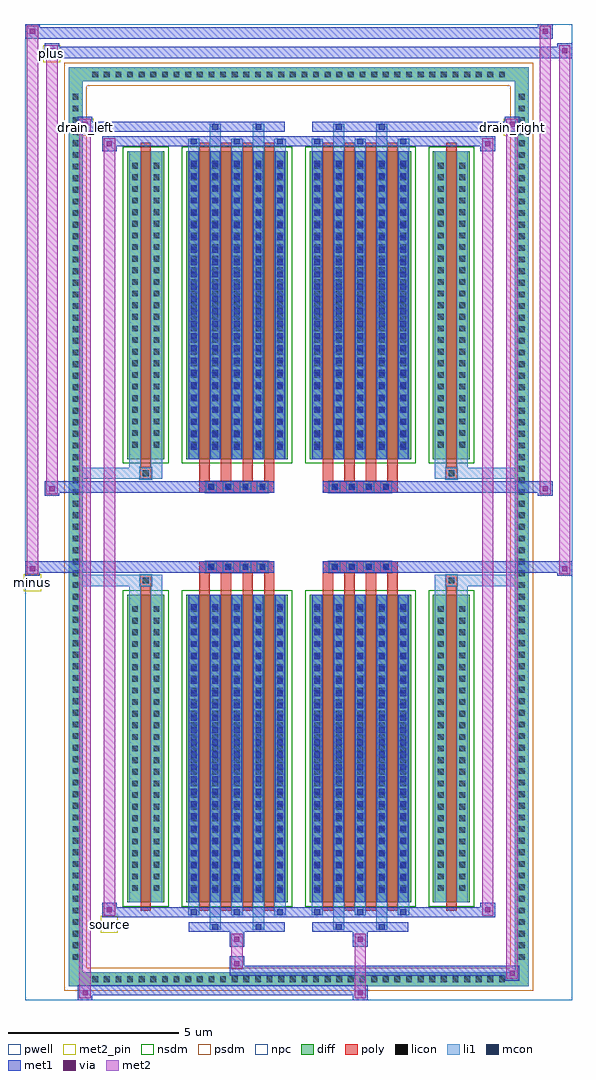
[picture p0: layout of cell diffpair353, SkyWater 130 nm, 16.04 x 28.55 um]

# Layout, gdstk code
import gdstk
lib = gdstk.Library(unit=1e-6, precision=5e-09)
def R(c, l, rs):  # rectangles x0, y0, x1, y1
    for r in rs: c.add(gdstk.rectangle(r[:2], r[2:], *l))
def A(c, l, x, y, w, h, nx, ny, dx, dy):  # array of equal rectangles
    R(c, l, [(x+i*dx, y+j*dy, x+i*dx+w, y+j*dy+h) for i in range(nx) for j in range(ny)])
def P(c, l, *ps):  # polygons
    for p in ps: c.add(gdstk.Polygon(p, *l))
pwell = (64, 44)
diff = (65, 20)
poly = (66, 20)
licon = (66, 44)
li1 = (67, 20)
mcon = (67, 44)
met1 = (68, 20)
via = (68, 44)
met2_pin = (69, 16)
met2 = (69, 20)
nsdm = (93, 44)
psdm = (94, 20)
npc = (95, 20)

diffpair353 = lib.new_cell('diffpair353')
R(diffpair353, pwell, [(-8,-13.84,8,14.71), (-5.32,-12.03,-0.01,-0.805), (0.01,-12.03,5.32,-0.805), (-5.32,0.805,-0.01,12.03), (0.01,0.805,5.32,12.03)])
A(diffpair353, diff, -6.155, -13.44, 0.41, 0.41, 36, 2, 0.34, 26.47)
A(diffpair353, diff, -6.73, -12.785, 0.41, 0.41, 1, 75, 0, 0.34)
A(diffpair353, diff, 6.32, -12.785, 0.41, 0.41, 1, 75, 0, 0.34)
R(diffpair353, diff, [(-6.155,-13.44,6.155,-13.03), (-6.73,-12.785,-6.32,12.785), (6.32,-12.785,6.73,12.785), (-5.01,-10.985,-3.93,-1.985), (-3.29,-10.985,-0.32,-1.985), (0.32,-10.985,3.29,-1.985), (3.93,-10.985,5.01,-1.985), (-5.01,1.985,-3.93,10.985), (-3.29,1.985,-0.32,10.985), (0.32,1.985,3.29,10.985), (3.93,1.985,5.01,10.985), (-6.155,13.03,6.155,13.44)])
P(diffpair353, diff, [(6.73,13.44),(-6.73,13.44),(-6.73,-13.03),(-6.32,-13.03),(-6.32,13.03),(6.32,13.03),(6.32,-13.03),(-6.32,-13.03),(-6.73,-13.03),(-6.73,-13.44),(6.73,-13.44)])
A(diffpair353, poly, -2.9, -11.235, 0.3, 9.5, 4, 2, 0.63, 12.97)
A(diffpair353, poly, 0.71, -11.235, 0.3, 9.5, 4, 2, 0.63, 12.97)
A(diffpair353, poly, -2.9, -1.735, 0.3, 0.4, 4, 2, 0.63, 3.07)
A(diffpair353, poly, 0.71, -1.735, 0.3, 0.4, 4, 2, 0.63, 3.07)
A(diffpair353, poly, -2.72, -1.335, 0.33, 0.33, 4, 2, 0.5, 2.34)
A(diffpair353, poly, 0.89, -1.335, 0.33, 0.33, 4, 2, 0.5, 2.34)
R(diffpair353, poly, [(-4.62,-11.235,-4.32,-1.735), (4.32,-11.235,4.62,-1.735), (-4.635,-1.735,-4.305,-1.405), (-4.635,-1.735,-4.305,-1.405), (4.305,-1.735,4.635,-1.405), (4.305,-1.735,4.635,-1.405), (-2.9,-1.335,-0.71,-1.005), (0.71,-1.335,2.9,-1.005), (-2.9,1.005,-0.71,1.335), (0.71,1.005,2.9,1.335), (-4.635,1.405,-4.305,1.735), (-4.635,1.405,-4.305,1.735), (4.305,1.405,4.635,1.735), (4.305,1.405,4.635,1.735), (-4.62,1.735,-4.32,11.235), (4.32,1.735,4.62,11.235)])
A(diffpair353, licon, -6.035, -13.32, 0.17, 0.17, 36, 2, 0.34, 26.47)
A(diffpair353, licon, -6.61, -12.665, 0.17, 0.17, 1, 75, 0, 0.34)
A(diffpair353, licon, 6.44, -12.665, 0.17, 0.17, 1, 75, 0, 0.34)
A(diffpair353, licon, -4.87, -10.65, 0.17, 0.17, 1, 25, 0, 0.34)
A(diffpair353, licon, -4.24, -10.65, 0.17, 0.17, 1, 25, 0, 0.34)
A(diffpair353, licon, -3.15, -10.65, 0.17, 0.17, 5, 25, 0.63, 0.34)
A(diffpair353, licon, 0.46, -10.65, 0.17, 0.17, 5, 25, 0.63, 0.34)
A(diffpair353, licon, 4.07, -10.65, 0.17, 0.17, 1, 25, 0, 0.34)
A(diffpair353, licon, 4.7, -10.65, 0.17, 0.17, 1, 25, 0, 0.34)
A(diffpair353, licon, -2.64, -1.255, 0.17, 0.17, 4, 2, 0.5, 2.34)
A(diffpair353, licon, 0.97, -1.255, 0.17, 0.17, 4, 2, 0.5, 2.34)
A(diffpair353, licon, -4.87, 2.32, 0.17, 0.17, 1, 25, 0, 0.34)
A(diffpair353, licon, -4.24, 2.32, 0.17, 0.17, 1, 25, 0, 0.34)
A(diffpair353, licon, -3.15, 2.32, 0.17, 0.17, 5, 25, 0.63, 0.34)
A(diffpair353, licon, 0.46, 2.32, 0.17, 0.17, 5, 25, 0.63, 0.34)
A(diffpair353, licon, 4.07, 2.32, 0.17, 0.17, 1, 25, 0, 0.34)
A(diffpair353, licon, 4.7, 2.32, 0.17, 0.17, 1, 25, 0, 0.34)
R(diffpair353, licon, [(-4.555,-1.655,-4.385,-1.485), (4.385,-1.655,4.555,-1.485), (-4.555,1.485,-4.385,1.655), (4.385,1.485,4.555,1.655)])
A(diffpair353, li1, -6.115, -13.4, 0.33, 0.33, 36, 2, 0.34, 26.47)
A(diffpair353, li1, -6.69, -12.745, 0.33, 0.33, 1, 75, 0, 0.34)
A(diffpair353, li1, 6.36, -12.745, 0.33, 0.33, 1, 75, 0, 0.34)
A(diffpair353, li1, -3.23, -11.36, 0.33, 0.375, 3, 2, 1.26, 22.345)
A(diffpair353, li1, -3.15, -11.36, 0.17, 0.17, 3, 2, 1.26, 22.55)
A(diffpair353, li1, 0.38, -11.36, 0.33, 0.375, 3, 2, 1.26, 22.345)
A(diffpair353, li1, 0.46, -11.36, 0.17, 0.17, 3, 2, 1.26, 22.55)
A(diffpair353, li1, -3.23, -10.985, 0.33, 9, 5, 2, 0.63, 12.97)
A(diffpair353, li1, 0.38, -10.985, 0.33, 9, 5, 2, 0.63, 12.97)
A(diffpair353, li1, -4.95, -10.73, 0.33, 0.33, 1, 25, 0, 0.34)
A(diffpair353, li1, -4.32, -10.73, 0.33, 0.33, 1, 25, 0, 0.34)
A(diffpair353, li1, -3.23, -10.73, 0.33, 0.33, 5, 25, 0.63, 0.34)
A(diffpair353, li1, 0.38, -10.73, 0.33, 0.33, 5, 25, 0.63, 0.34)
A(diffpair353, li1, 3.99, -10.73, 0.33, 0.33, 1, 25, 0, 0.34)
A(diffpair353, li1, 4.62, -10.73, 0.33, 0.33, 1, 25, 0, 0.34)
A(diffpair353, li1, -3.15, -10.71, 0.17, 0.17, 5, 24, 0.63, 0.36)
A(diffpair353, li1, -3.15, -10.71, 0.17, 8.45, 5, 2, 0.63, 12.97)
A(diffpair353, li1, 0.46, -10.71, 0.17, 0.17, 5, 24, 0.63, 0.36)
A(diffpair353, li1, 0.46, -10.71, 0.17, 8.45, 5, 2, 0.63, 12.97)
A(diffpair353, li1, -2.72, -1.335, 0.33, 0.33, 4, 2, 0.5, 2.34)
A(diffpair353, li1, 0.89, -1.335, 0.33, 0.33, 4, 2, 0.5, 2.34)
A(diffpair353, li1, -4.95, 2.24, 0.33, 0.33, 1, 25, 0, 0.34)
A(diffpair353, li1, -4.32, 2.24, 0.33, 0.33, 1, 25, 0, 0.34)
A(diffpair353, li1, -3.23, 2.24, 0.33, 0.33, 5, 25, 0.63, 0.34)
A(diffpair353, li1, 0.38, 2.24, 0.33, 0.33, 5, 25, 0.63, 0.34)
A(diffpair353, li1, 3.99, 2.24, 0.33, 0.33, 1, 25, 0, 0.34)
A(diffpair353, li1, 4.62, 2.24, 0.33, 0.33, 1, 25, 0, 0.34)
A(diffpair353, li1, -3.15, 2.26, 0.17, 0.17, 5, 24, 0.63, 0.36)
A(diffpair353, li1, 0.46, 2.26, 0.17, 0.17, 5, 24, 0.63, 0.36)
R(diffpair353, li1, [(-6.73,-13.44,-6.32,-13.03), (-6.73,-13.44,-6.32,-13.03), (-6.32,-13.44,6.32,-13.03), (6.32,-13.44,6.73,-13.03), (6.32,-13.44,6.73,-13.03), (-6.73,-13.03,-6.32,13.03), (6.32,-13.03,6.73,13.03), (-2.6,-11.79,-2.27,-10.985), (-2.52,-11.79,-2.35,-11.62), (-1.34,-11.79,-1.01,-10.985), (-1.26,-11.79,-1.09,-11.62), (1.01,-11.79,1.34,-10.985), (1.09,-11.79,1.26,-11.62), (2.27,-11.79,2.6,-10.985), (2.35,-11.79,2.52,-11.62), (-4.95,-10.985,-4.62,-1.985), (-4.32,-10.985,-3.99,-1.985), (3.99,-10.985,4.32,-1.985), (4.62,-10.985,4.95,-1.985), (-4.95,-1.985,-4.62,-1.405), (-4.32,-1.985,-3.99,-1.405), (3.99,-1.985,4.32,-1.405), (4.62,-1.985,4.95,-1.405), (-6.73,-1.735,-4.635,-1.405), (-4.95,-1.735,-4.635,-1.405), (-4.635,-1.735,-4.305,-1.405), (-4.305,-1.735,-3.99,-1.405), (3.99,-1.735,4.305,-1.405), (4.305,-1.735,4.635,-1.405), (4.305,-1.735,6.73,-1.405), (4.635,-1.735,4.95,-1.405), (-6.73,1.405,-4.635,1.735), (-4.95,1.405,-4.635,1.735), (-4.95,1.405,-4.62,1.985), (-4.635,1.405,-4.305,1.735), (-4.32,1.405,-3.99,1.985), (-4.305,1.405,-3.99,1.735), (3.99,1.405,4.305,1.735), (3.99,1.405,4.32,1.985), (4.305,1.405,4.635,1.735), (4.305,1.405,6.73,1.735), (4.62,1.405,4.95,1.985), (4.635,1.405,4.95,1.735), (-4.95,1.985,-4.62,10.985), (-4.32,1.985,-3.99,10.985), (3.99,1.985,4.32,10.985), (4.62,1.985,4.95,10.985), (-2.6,10.985,-2.27,11.79), (-1.34,10.985,-1.01,11.79), (1.01,10.985,1.34,11.79), (2.27,10.985,2.6,11.79), (-2.52,11.62,-2.35,11.79), (-1.26,11.62,-1.09,11.79), (1.09,11.62,1.26,11.79), (2.35,11.62,2.52,11.79), (-6.73,13.03,-6.32,13.44), (-6.73,13.03,-6.32,13.44), (-6.32,13.03,6.32,13.44), (6.32,13.03,6.73,13.44), (6.32,13.03,6.73,13.44)])
A(diffpair353, mcon, -3.15, -11.36, 0.17, 0.17, 3, 2, 1.26, 22.55)
A(diffpair353, mcon, 0.46, -11.36, 0.17, 0.17, 3, 2, 1.26, 22.55)
A(diffpair353, mcon, -3.15, -10.71, 0.17, 0.17, 5, 24, 0.63, 0.36)
A(diffpair353, mcon, 0.46, -10.71, 0.17, 0.17, 5, 24, 0.63, 0.36)
A(diffpair353, mcon, -2.64, -1.255, 0.17, 0.17, 4, 2, 0.5, 2.34)
A(diffpair353, mcon, 0.97, -1.255, 0.17, 0.17, 4, 2, 0.5, 2.34)
A(diffpair353, mcon, -3.15, 2.26, 0.17, 0.17, 5, 24, 0.63, 0.36)
A(diffpair353, mcon, 0.46, 2.26, 0.17, 0.17, 5, 24, 0.63, 0.36)
R(diffpair353, mcon, [(-2.52,-11.79,-2.35,-11.62), (-1.26,-11.79,-1.09,-11.62), (1.09,-11.79,1.26,-11.62), (2.35,-11.79,2.52,-11.62), (-2.52,11.62,-2.35,11.79), (-1.26,11.62,-1.09,11.79), (1.09,11.62,1.26,11.79), (2.35,11.62,2.52,11.79)])
A(diffpair353, met1, -3.21, -11.42, 0.29, 0.29, 3, 2, 1.26, 22.55)
A(diffpair353, met1, 0.4, -11.42, 0.29, 0.29, 3, 2, 1.26, 22.55)
A(diffpair353, met1, -3.21, -10.985, 0.29, 9, 5, 2, 0.63, 12.97)
A(diffpair353, met1, 0.4, -10.985, 0.29, 9, 5, 2, 0.63, 12.97)
A(diffpair353, met1, -3.21, -10.77, 0.29, 0.29, 5, 24, 0.63, 0.36)
A(diffpair353, met1, 0.4, -10.77, 0.29, 0.29, 5, 24, 0.63, 0.36)
A(diffpair353, met1, -2.7, -1.315, 0.29, 0.29, 4, 2, 0.5, 2.34)
A(diffpair353, met1, 0.91, -1.315, 0.29, 0.29, 4, 2, 0.5, 2.34)
A(diffpair353, met1, -3.21, 2.2, 0.29, 0.29, 5, 24, 0.63, 0.36)
A(diffpair353, met1, 0.4, 2.2, 0.29, 0.29, 5, 24, 0.63, 0.36)
R(diffpair353, met1, [(-6.46,-13.84,-6.03,-13.41), (1.59,-13.84,2.02,-13.41), (-6.46,-13.7,2.02,-13.41), (6.03,-13.27,6.46,-12.84), (-2.02,-13.13,6.46,-12.84), (-2.02,-12.99,-1.59,-12.56), (-2.02,-12.28,-1.59,-11.85), (1.59,-12.28,2.02,-11.85), (-3.21,-11.85,-0.4,-11.56), (-2.58,-11.85,-2.29,-11.56), (-1.32,-11.85,-1.03,-11.56), (0.4,-11.85,3.21,-11.56), (1.03,-11.85,1.32,-11.56), (2.29,-11.85,2.58,-11.56), (-5.75,-11.42,-5.32,-10.99), (-5.75,-11.42,-3.21,-11.13), (-3.21,-11.42,-0.4,-11.13), (-0.4,-11.42,0.4,-11.13), (0.4,-11.42,3.21,-11.13), (3.21,-11.42,5.75,-11.13), (5.32,-11.42,5.75,-10.99), (-8,-1.435,-7.57,-1.005), (7.57,-1.435,8,-1.005), (-8,-1.335,-0.71,-1.005), (-2.9,-1.335,-0.71,-1.005), (0.71,-1.335,2.9,-1.005), (0.71,-1.335,8,-1.005), (-7.43,0.905,-7,1.335), (7,0.905,7.43,1.335), (-7.43,1.005,-2.9,1.335), (-2.9,1.005,-0.71,1.335), (0.71,1.005,2.9,1.335), (2.9,1.005,7.43,1.335), (-5.75,10.99,-5.32,11.42), (5.32,10.99,5.75,11.42), (-5.75,11.13,-3.21,11.42), (-3.21,11.13,-0.4,11.42), (-0.4,11.13,0.4,11.42), (0.4,11.13,3.21,11.42), (3.21,11.13,5.75,11.42), (-6.46,11.56,-6.03,11.99), (-6.46,11.56,-3.21,11.85), (-3.21,11.56,-0.4,11.85), (-2.58,11.56,-2.29,11.85), (-1.32,11.56,-1.03,11.85), (0.4,11.56,3.21,11.85), (1.03,11.56,1.32,11.85), (2.29,11.56,2.58,11.85), (3.21,11.56,6.46,11.85), (6.03,11.56,6.46,11.99), (-7.43,13.71,-7,14.14), (-7.43,13.71,-5.32,14.04), (-5.32,13.71,5.32,14.04), (5.32,13.71,8,14.04), (7.57,13.71,8,14.14), (-8,14.28,-7.57,14.71), (-8,14.28,-5.32,14.61), (-5.32,14.28,5.32,14.61), (5.32,14.28,7.43,14.61), (7,14.28,7.43,14.71)])
R(diffpair353, via, [(-6.32,-13.7,-6.17,-13.55), (1.73,-13.7,1.88,-13.55), (6.17,-13.13,6.32,-12.98), (-1.88,-12.85,-1.73,-12.7), (-1.88,-12.14,-1.73,-11.99), (1.73,-12.14,1.88,-11.99), (-5.61,-11.28,-5.46,-11.13), (5.46,-11.28,5.61,-11.13), (-7.86,-1.295,-7.71,-1.145), (7.71,-1.295,7.86,-1.145), (-7.29,1.045,-7.14,1.195), (7.14,1.045,7.29,1.195), (-5.61,11.13,-5.46,11.28), (5.46,11.13,5.61,11.28), (-6.32,11.7,-6.17,11.85), (6.17,11.7,6.32,11.85), (-7.29,13.85,-7.14,14), (7.71,13.85,7.86,14), (-7.86,14.42,-7.71,14.57), (7.14,14.42,7.29,14.57)])
R(diffpair353, met2_pin, [(-5.785,-11.87,-5.285,-11.37), (-8.035,-1.885,-7.535,-1.385), (-6.495,11.44,-5.995,11.94), (5.995,11.44,6.495,11.94), (-7.465,13.59,-6.965,14.09)])
R(diffpair353, met2, [(-6.41,-13.79,-6.08,-13.46), (-6.41,-13.79,-6.08,11.94), (1.64,-13.79,1.97,-13.46), (1.64,-13.46,1.97,-12.23), (6.08,-13.22,6.41,-12.89), (6.08,-13.22,6.41,11.94), (-1.97,-12.94,-1.64,-12.61), (-1.97,-12.61,-1.64,-12.23), (-1.97,-12.23,-1.64,-11.9), (1.64,-12.23,1.97,-11.9), (-5.7,-11.37,-5.37,-11.04), (-5.7,-11.37,-5.37,11.37), (5.37,-11.37,5.7,-11.04), (5.37,-11.37,5.7,11.37), (-7.95,-1.385,-7.62,-1.055), (-7.95,-1.385,-7.62,14.66), (7.62,-1.385,7.95,-1.055), (7.62,-1.385,7.95,14.09), (-7.38,0.955,-7.05,1.285), (-7.38,0.955,-7.05,14.09), (7.05,0.955,7.38,1.285), (7.05,0.955,7.38,14.66), (-5.7,11.04,-5.37,11.37), (5.37,11.04,5.7,11.37), (-6.41,11.61,-6.08,11.94), (6.08,11.61,6.41,11.94), (-7.38,13.76,-7.05,14.09), (7.62,13.76,7.95,14.09), (-7.95,14.33,-7.62,14.66), (7.05,14.33,7.38,14.66)])
P(diffpair353, met2, [(7.95,-1.385),(7.95,-1.385),(7.95,-1.055),(7.95,-1.055)],
  [(7.95,13.76),(7.95,13.76),(7.95,14.09),(7.95,14.09)],
  [(-7.62,-1.385),(-7.62,-1.385),(-7.62,-1.055),(-7.62,-1.055)],
  [(-7.62,14.33),(-7.62,14.33),(-7.62,14.66),(-7.62,14.66)],
  [(7.38,0.955),(7.38,0.955),(7.38,1.285),(7.38,1.285)],
  [(7.38,14.33),(7.38,14.33),(7.38,14.66),(7.38,14.66)],
  [(-7.05,0.955),(-7.05,0.955),(-7.05,1.285),(-7.05,1.285)],
  [(-7.05,13.76),(-7.05,13.76),(-7.05,14.09),(-7.05,14.09)],
  [(-6.08,-13.79),(-6.08,-13.79),(-6.08,-13.46),(-6.08,-13.46)],
  [(-6.08,11.61),(-6.08,11.61),(-6.08,11.94),(-6.08,11.94)],
  [(6.41,-13.22),(6.41,-13.22),(6.41,-12.89),(6.41,-12.89)],
  [(6.41,11.61),(6.41,11.61),(6.41,11.94),(6.41,11.94)],
  [(-5.37,-11.37),(-5.37,-11.37),(-5.37,-11.04),(-5.37,-11.04)],
  [(-5.37,11.04),(-5.37,11.04),(-5.37,11.37),(-5.37,11.37)],
  [(5.7,-11.37),(5.7,-11.37),(5.7,-11.04),(5.7,-11.04)],
  [(5.7,11.04),(5.7,11.04),(5.7,11.37),(5.7,11.37)])
R(diffpair353, nsdm, [(-5.14,-11.115,-3.8,-1.855), (-3.42,-11.115,-0.19,-1.855), (0.19,-11.115,3.42,-1.855), (3.8,-11.115,5.14,-1.855), (-5.14,1.855,-3.8,11.115), (-3.42,1.855,-0.19,11.115), (0.19,1.855,3.42,11.115), (3.8,1.855,5.14,11.115)])
P(diffpair353, psdm, [(6.86,13.57),(-6.86,13.57),(-6.86,-12.9),(-6.19,-12.9),(-6.19,12.9),(6.19,12.9),(6.19,-12.9),(-6.19,-12.9),(-6.86,-12.9),(-6.86,-13.57),(6.86,-13.57)])
A(diffpair353, npc, -2.74, -1.355, 0.37, 0.37, 4, 2, 0.5, 2.34)
A(diffpair353, npc, 0.87, -1.355, 0.37, 0.37, 4, 2, 0.5, 2.34)
R(diffpair353, npc, [(-4.655,-1.755,-4.285,-1.385), (4.285,-1.755,4.655,-1.385), (-2.74,-1.355,-1.87,-0.985), (-2.74,-1.355,-1.87,-0.985), (-2.24,-1.355,-1.37,-0.985), (-2.24,-1.355,-1.37,-0.985), (-1.74,-1.355,-0.87,-0.985), (-1.74,-1.355,-0.87,-0.985), (0.87,-1.355,1.74,-0.985), (0.87,-1.355,1.74,-0.985), (1.37,-1.355,2.24,-0.985), (1.37,-1.355,2.24,-0.985), (1.87,-1.355,2.74,-0.985), (1.87,-1.355,2.74,-0.985), (-2.74,0.985,-1.87,1.355), (-2.74,0.985,-1.87,1.355), (-2.24,0.985,-1.37,1.355), (-2.24,0.985,-1.37,1.355), (-1.74,0.985,-0.87,1.355), (-1.74,0.985,-0.87,1.355), (0.87,0.985,1.74,1.355), (0.87,0.985,1.74,1.355), (1.37,0.985,2.24,1.355), (1.37,0.985,2.24,1.355), (1.87,0.985,2.74,1.355), (1.87,0.985,2.74,1.355), (-4.655,1.385,-4.285,1.755), (4.285,1.385,4.655,1.755)])
diffpair353.add(gdstk.Label('minus', (-7.785,-1.635), layer=69, texttype=5))
diffpair353.add(gdstk.Label('drain_right', (6.245,11.69), layer=69, texttype=5))
diffpair353.add(gdstk.Label('drain_left', (-6.245,11.69), layer=69, texttype=5))
diffpair353.add(gdstk.Label('source', (-5.535,-11.62), layer=69, texttype=5))
diffpair353.add(gdstk.Label('plus', (-7.215,13.84), layer=69, texttype=5))

lib.write_gds('diffpair353.gds')
